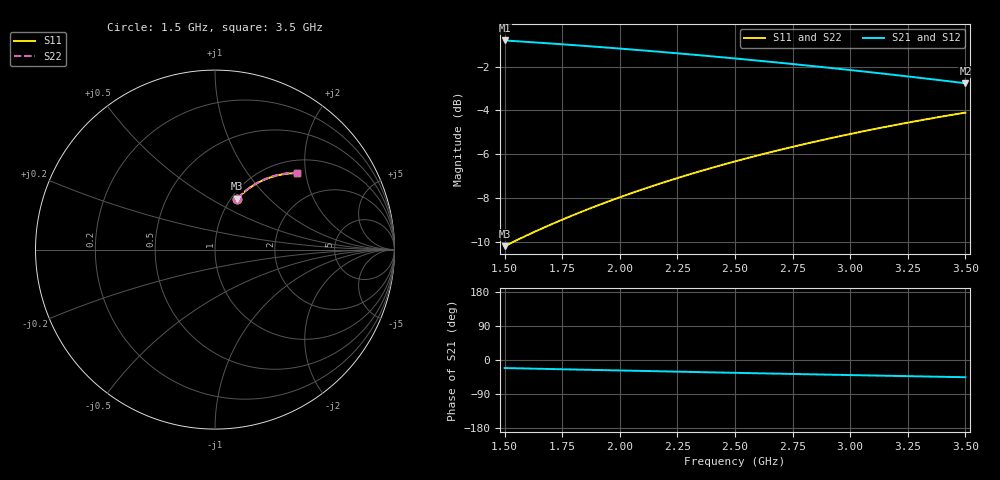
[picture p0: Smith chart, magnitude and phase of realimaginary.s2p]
! Touchstone file from project Feb_01st
! Exported from HFSS 3D Layout Design 2018.0.0
! Variables:
!  $F_S = 40um
!  $R_T2 = 172um
!  $R_T3 = 131um
!  $R_diag = 230.54953866228um
!  $R_diag2 = 186.171458450292um
!  $R_diag3 = 141.793378238304um
!  $R_out = 213um
!  $S = 11um
!  $Theta = 22.5deg
!  $W = 30um
# GHZ S RI R 50.000000
! Terminal data exported
! Port[1] = Port1
! Port[2] = Port2
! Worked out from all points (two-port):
!   41 points, 1.5 GHz to 3.5 GHz, reference per port
!   highest |S21| = -0.81 dB at 1.5 GHz (marker M1); lowest = -2.8 dB at 3.5 GHz (marker M2)
!   |S21| within 3 dB of the highest: start of sweep to end of sweep
!   lowest |S11| = -10.2 dB at 1.5 GHz (marker M3), VSWR 1.90
!   |S11| at or under -10 dB: start of sweep to 1.535 GHz
!   |S22| runs from -10.2 to -4.1 dB; largest |S21 - S12| = 9.3e-15
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1.5  0.1246 0.2836  0.8491 -0.3292  0.8491 -0.3292  0.1243 0.2844
! Gamma 0 31.4376753292752 0 0 0 0 0 31.4376753292752
! Port Impedance50 0 0 0 0 0 50 0
1.55  0.1314 0.2908  0.8421 -0.3376  0.8421 -0.3376  0.1311 0.2917
1.6  0.1384 0.2978  0.8349 -0.3458  0.8349 -0.3458  0.1381 0.2988
1.65  0.1455 0.3047  0.8276 -0.3538  0.8276 -0.3538  0.1452 0.3057
1.75  0.1601 0.3179  0.8126 -0.3692  0.8126 -0.3692  0.1598 0.3189
1.85  0.1752 0.3303  0.7971 -0.384  0.7971 -0.384  0.1748 0.3314
1.9  0.1829 0.3362  0.7893 -0.3911  0.7893 -0.3911  0.1825 0.3374
2  0.1986 0.3475  0.7732 -0.4047  0.7732 -0.4047  0.1982 0.3488
2.1  0.2147 0.358  0.7568 -0.4175  0.7568 -0.4175  0.2143 0.3594
2.2  0.2311 0.3678  0.7401 -0.4296  0.7401 -0.4296  0.2307 0.3692
2.25  0.2394 0.3723  0.7316 -0.4354  0.7316 -0.4354  0.239 0.3738
2.35  0.2562 0.3809  0.7145 -0.4463  0.7145 -0.4463  0.2558 0.3825
2.4  0.2647 0.3849  0.7058 -0.4515  0.7058 -0.4515  0.2643 0.3865
2.5  0.2818 0.3923  0.6884 -0.4613  0.6884 -0.4613  0.2814 0.394
2.65  0.3078 0.402  0.6619 -0.4745  0.6619 -0.4745  0.3074 0.4038
2.75  0.3253 0.4074  0.6441 -0.4824  0.6441 -0.4824  0.3249 0.4094
2.85  0.3429 0.4122  0.6263 -0.4895  0.6263 -0.4895  0.3424 0.4142
3  0.3693 0.4179  0.5994 -0.4988  0.5994 -0.4988  0.3688 0.42
3.1  0.3869 0.4208  0.5815 -0.5042  0.5815 -0.5042  0.3864 0.423
3.2  0.4044 0.4229  0.5637 -0.5088  0.5637 -0.5088  0.404 0.4253
3.35  0.4306 0.4249  0.537 -0.5144  0.537 -0.5144  0.4302 0.4274
3.5  0.4566 0.4254  0.5106 -0.5185  0.5106 -0.5185  0.4562 0.428
